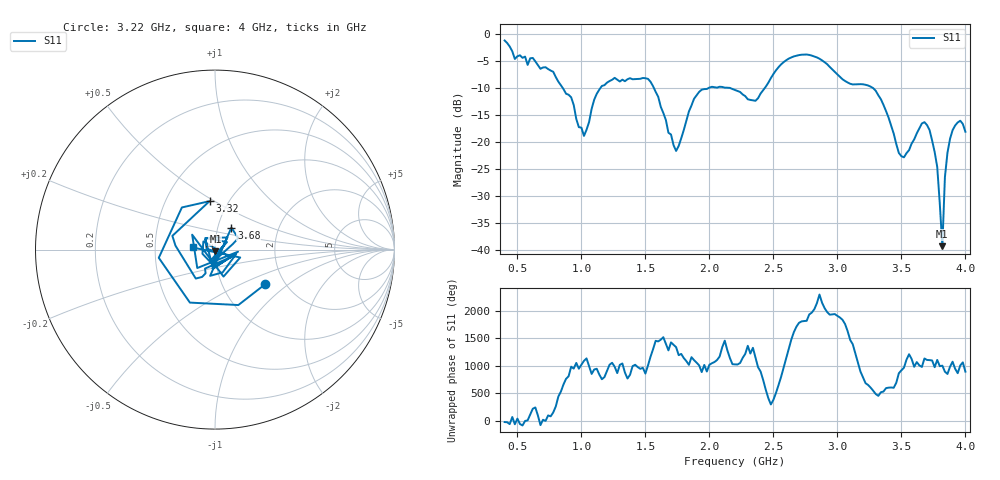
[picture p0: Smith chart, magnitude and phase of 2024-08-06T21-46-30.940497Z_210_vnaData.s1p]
!Created with skrf (http://scikit-rf.org).
# Hz S RI R 50.0
!freq ReS11 ImS11
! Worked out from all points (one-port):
!   181 points, 400 MHz to 4 GHz, reference 50 ohm
!   lowest |S11| = -39.4 dB at 3.82 GHz (marker M1), VSWR 1.02, Z = 50.2 - j1.06 ohm
!   |S11| at or under -10 dB: 855.4 MHz to 1.148 GHz (292.3 MHz wide, 29.2 % of centre); 1.567 GHz to 1.991 GHz (423.9 MHz wide, 23.8 % of centre); 3.28 GHz to end of sweep (the widest 3 of 4)
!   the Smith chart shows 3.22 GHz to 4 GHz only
!   S11 on the Smith chart (normalised r, x): 3.22 GHz: 1.60, -0.69; 3.32 GHz: 0.82, +0.48; 3.68 GHz: 1.16, +0.29; 4 GHz: 0.78, +0.02
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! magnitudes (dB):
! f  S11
! 400 MHz  -1.1
! 480 MHz  -4.6
! 620 MHz  -4.4
! 860 MHz  -10.2
! 1.02 GHz  -18.9
! 1.14 GHz  -10.3
! 1.3 GHz  -8.8
! 1.52 GHz  -8.3
! 1.74 GHz  -21.7
! 1.76 GHz  -20.7
! 1.92 GHz  -10.7
! 2.2 GHz  -10.3
! 2.36 GHz  -12.3
! 2.66 GHz  -4.1
! 2.84 GHz  -4.3
! 3.1 GHz  -9.2
! 3.22 GHz  -9.4
! 3.32 GHz  -11.3
! 3.48 GHz  -22.0
! 3.56 GHz  -21.5
! 3.68 GHz  -16.3
! 3.72 GHz  -17.8
! 3.78 GHz  -24.6
! 3.82 GHz  -39.4
! 3.84 GHz  -26.5
! 3.88 GHz  -19.4
! 3.96 GHz  -16.0
! 4 GHz  -18.1
